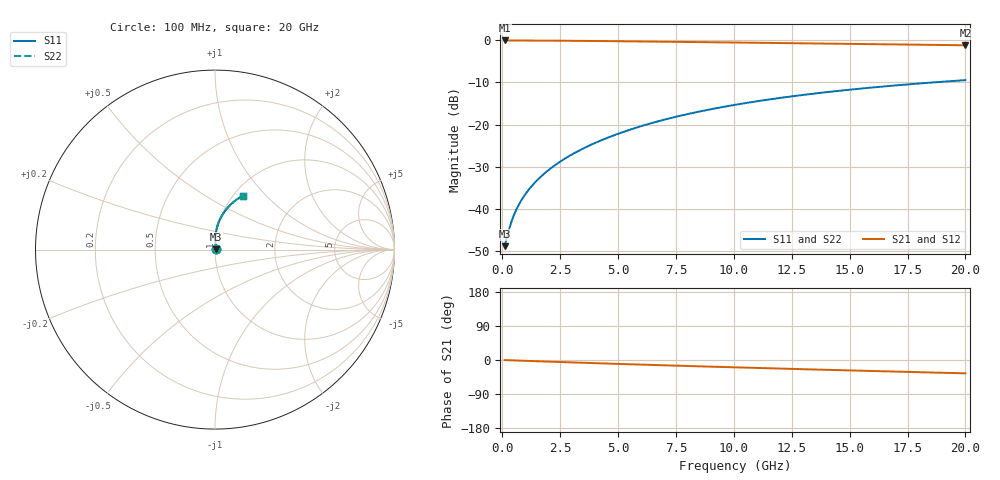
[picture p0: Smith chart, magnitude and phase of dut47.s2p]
! Touchstone file exported from HFSS 2024.1.0
!  File:  C:/UserFiles/LocalFiles/RDL_TSV_Batchsim/temp_RDL_bottom_47_1778692795.aedt
!  Generated:  01:22:47 AM May 14, 2026
!  Design:  RDL_bottom
!  Project:  temp_RDL_bottom_47_1778692795
!  Setup:  Setup1
!  Solution:  Sweep
! Variables:
!  dtsv = 10.80580581um
!  hbump = 3um
!  htsv = 56.26um
!  ldown = 464.92um
!  lrdl = 100um
!  p = 40
!  p1 = 58.38um
!  rhole = 1um
!  t = 450um
!  tdown = 2.11um
!  trdl = 3.915915916um
!  wdown = 27.77um
!  wrdl = 20um
# GHz S MA R 50.000000
! Terminal data exported
! Port[1] = RDL1_T1
! Port[2] = RDL1_T2
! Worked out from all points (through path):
!   200 points, 100 MHz to 20 GHz, reference 50 ohm
!   highest |S21| = -0.03 dB at 100 MHz (marker M1); lowest = -1.2 dB at 20 GHz (marker M2)
!   group delay of S21, straight-line fit = 4.83 ps
!   lowest |S11| = -48.9 dB at 100 MHz (marker M3), VSWR 1.01, Z = 50.3 + j0.16 ohm
!   |S11| at or under -10 dB: start of sweep to 18.6 GHz
!   |S22| runs from -48.9 to -9.5 dB; largest |S21 - S12| = 4e-15
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0.1  0.003584 26.3  0.9968 -0.2  0.9968 -0.2  0.003584 26.3
! Gamma 0 0 0 0
! Port Impedance 50 0 50 0
0.3  0.005771 53.7  0.9965 -0.7  0.9965 -0.7  0.005771 53.7
0.4  0.007058 59.9  0.9963 -0.9  0.9963 -0.9  0.007058 59.9
0.5  0.008361 64.2  0.996 -1.1  0.996 -1.1  0.008361 64.2
0.6  0.009666 67.3  0.9958 -1.3  0.9958 -1.3  0.009666 67.3
0.7  0.01097 69.8  0.9956 -1.5  0.9956 -1.5  0.01097 69.8
0.9  0.0136 73.6  0.9951 -2.0  0.9951 -2.0  0.0136 73.6
1.2  0.0176 77.5  0.9944 -2.6  0.9944 -2.6  0.0176 77.5
1.7  0.02452 81.7  0.9929 -3.7  0.9929 -3.7  0.02452 81.7
2.2  0.03174 84.2  0.9912 -4.7  0.9912 -4.7  0.03174 84.2
2.8  0.04082 86.1  0.9886 -6.0  0.9886 -6.0  0.04081 86.1
3.5  0.05196 87.3  0.9851 -7.4  0.9851 -7.4  0.05195 87.3
4.2  0.06365 87.8  0.9811 -8.8  0.9811 -8.8  0.06363 87.8
5  0.07757 87.7  0.9763 -10.3  0.9763 -10.3  0.07755 87.7
5.9  0.09381 87.1  0.9705 -12.0  0.9705 -12.0  0.09377 87.1
6.8  0.1104 86.1  0.9645 -13.7  0.9645 -13.7  0.1104 86.1
8.4  0.1405 83.7  0.9537 -16.5  0.9537 -16.5  0.1404 83.6
10.1  0.1723 80.6  0.9422 -19.5  0.9422 -19.5  0.1722 80.6
11.7  0.2016 77.7  0.9313 -22.2  0.9313 -22.2  0.2015 77.6
13.4  0.2318 74.5  0.9196 -24.9  0.9196 -24.9  0.2317 74.5
16.7  0.2868 68.5  0.8966 -30.2  0.8966 -30.2  0.2867 68.5
20  0.3366 62.9  0.8733 -35.2  0.8733 -35.2  0.3364 62.9
